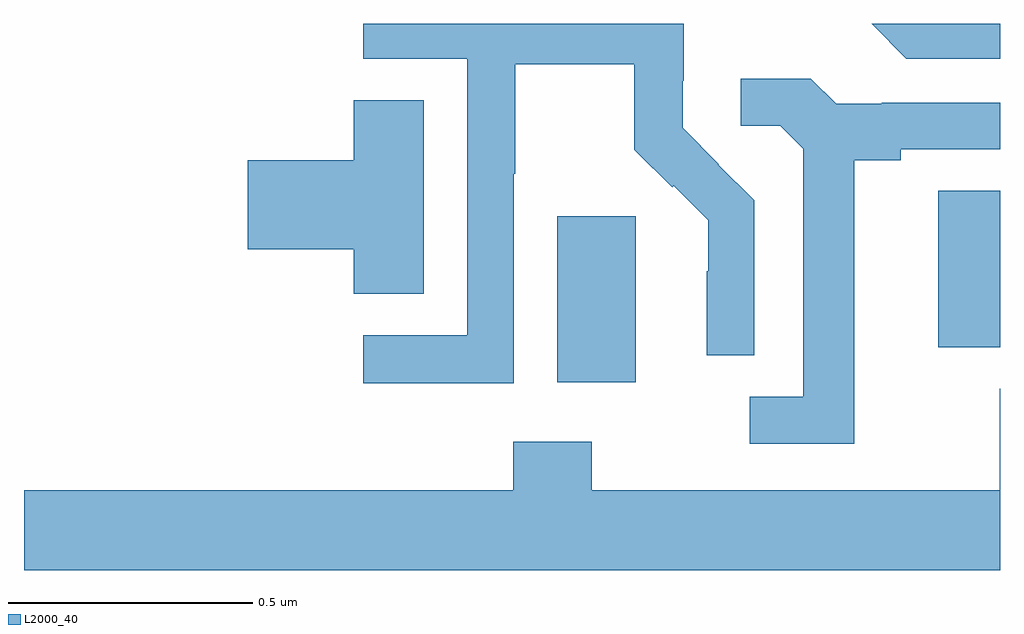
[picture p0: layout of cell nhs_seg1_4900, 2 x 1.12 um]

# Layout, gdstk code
import gdstk
lib = gdstk.Library(unit=1e-6, precision=1e-09)
def R(c, l, rs):  # rectangles x0, y0, x1, y1
    for r in rs: c.add(gdstk.rectangle(r[:2], r[2:], *l))
def P(c, l, *ps):  # polygons
    for p in ps: c.add(gdstk.Polygon(p, *l))
L2000_40 = (2000, 40)

nhs_seg1_4900 = lib.new_cell('nhs_seg1_4900')
R(nhs_seg1_4900, L2000_40, [(173.093,537.465,173.254,537.805), (173.873,537.537,174,537.857)])
P(nhs_seg1_4900, L2000_40, [(173.004,537.892),(173.007,537.892),(173.007,538.116),(173.251,538.116),(173.251,537.941),(173.328,537.864),(173.331,537.867),(173.402,537.797),(173.402,537.692),(173.399,537.692),(173.399,537.52),(173.496,537.52),(173.496,537.838),(173.423,537.911),(173.424,537.912),(173.35,537.986),(173.35,538.083),(173.352,538.083),(173.352,538.199),(172.695,538.199),(172.695,538.128),(172.908,538.128),(172.908,537.561),(172.695,537.561),(172.695,537.463),(173.004,537.463)],
  [(174,538.199),(173.737,538.199),(173.808,538.128),(174,538.128)],
  [(173.701,537.92),(173.797,537.92),(173.797,537.942),(174,537.942),(174,538.038),(173.758,538.038),(173.758,538.035),(173.664,538.035),(173.612,538.087),(173.469,538.087),(173.469,537.99),(173.55,537.99),(173.597,537.943),(173.597,537.435),(173.487,537.435),(173.487,537.339),(173.701,537.339)],
  [(172.819,538.043),(172.676,538.043),(172.676,537.92),(172.458,537.92),(172.458,537.737),(172.676,537.737),(172.676,537.646),(172.819,537.646)],
  [(174,537.452),(173.999,537.452),(173.999,537.244),(173.163,537.244),(173.163,537.343),(173.003,537.343),(173.003,537.244),(172,537.244),(172,537.08),(174,537.08)])

lib.write_gds('nhs_seg1_4900.gds')
